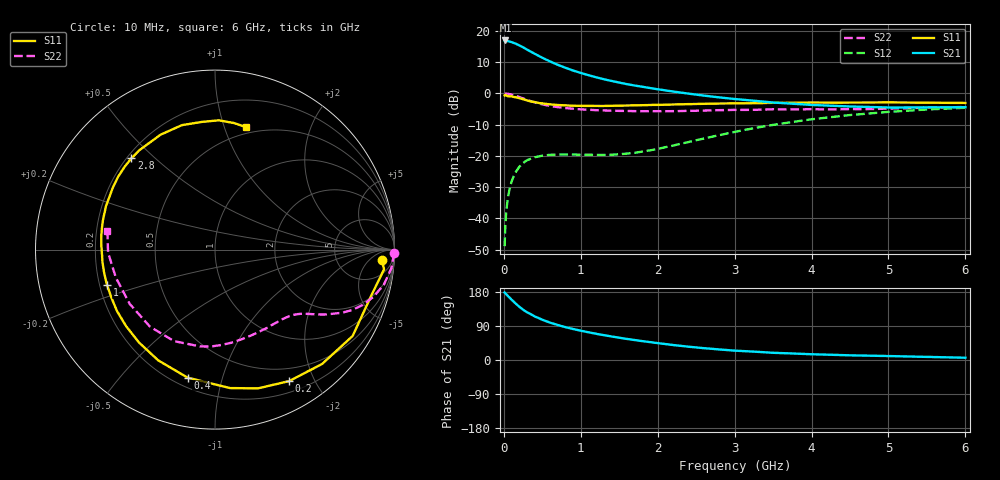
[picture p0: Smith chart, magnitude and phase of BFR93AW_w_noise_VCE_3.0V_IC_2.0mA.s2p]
! Infineon Technologies  Discrete & RF Semiconductors
! BFR93AW
! VCE =  3.0 V,  IC =  2.0 mA
! Common Emitter S-Parameters:  Jan 2017
# GHz  S  MA  R  50
!  f  S11  S21  S12  S22
! GHz  MAG  ANG  MAG  ANG  MAG  ANG  MAG  ANG
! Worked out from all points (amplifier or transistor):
!   77 points, 10 MHz to 6 GHz, reference 50 ohm
!   highest |S21| = 17.0 dB at 20 MHz (marker M1)
!   |S21| within 3 dB of that: start of sweep to 307.5 MHz
!   unconditionally stable (mu >= 1): 1.265 GHz to 2.348 GHz
!   at 130 MHz: K = 0.11, MSG = 21.3 dB, |S12| = -26.4 dB
!   at 2.2 GHz: K = 1.05, MAG = 7.2 dB, |S12| = -16.7 dB
!   at 6 GHz: K = 0.97, MSG = 0.1 dB, |S12| = -4.6 dB
!   lowest NFmin = 1.49 dB at 450 MHz
!   S11 on the Smith chart (normalised r, x): 10 MHz: 17, -14; 200 MHz: 0.33, -1.66; 400 MHz: 0.25, -0.78; 1 GHz: 0.23, -0.15; 2.8 GHz: 0.22, +0.42; 6 GHz: 0.44, +1.18
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0.01  0.9317 -3.4  6.946 178.1  0.0036 90.0  1 -1.2
0.02  0.9482 -6.7  7.047 176.0  0.008 93.8  0.9946 -2.5
0.05  0.9081 -16.2  6.901 169.5  0.0203 80.1  0.9881 -6.0
0.1  0.9053 -32.1  6.649 159.3  0.0387 73.0  0.9612 -11.7
0.15  0.8729 -46.9  6.295 149.6  0.0542 64.8  0.9213 -16.6
0.2  0.8411 -60.6  5.884 140.8  0.0669 58.7  0.8769 -20.7
0.25  0.8092 -72.9  5.477 132.8  0.0771 52.7  0.8329 -23.9
0.3  0.7757 -83.9  5.048 126.2  0.0852 47.6  0.789 -26.5
0.4  0.7294 -102.1  4.327 115.0  0.0952 40.8  0.7206 -30.1
0.5  0.6933 -117.2  3.724 106.2  0.1011 35.8  0.6681 -32.7
0.6  0.6689 -129.2  3.256 98.7  0.1043 32.8  0.6309 -34.6
0.8  0.6446 -147.9  2.579 86.7  0.1053 30.5  0.584 -38.0
1  0.6331 -161.9  2.128 77.3  0.1046 31.0  0.5567 -41.6
1.1  0.6311 -168.0  1.959 73.2  0.1048 32.4  0.5483 -43.6
1.3  0.6305 -178.2  1.689 65.5  0.104 36.5  0.5349 -48.0
1.6  0.6413 169.2  1.409 55.6  0.109 45.4  0.525 -55.7
2.1  0.66 151.8  1.119 42.1  0.1381 59.3  0.5194 -70.4
2.8  0.6894 132.5  0.865 27.8  0.215 65.9  0.5405 -92.5
3.1  0.6959 124.9  0.795 23.7  0.2564 64.3  0.5453 -101.8
4.1  0.7156 103.1  0.648 14.6  0.3981 52.8  0.5579 -133.6
5.1  0.7182 86.9  0.597 10.0  0.5159 37.4  0.5754 -167.0
6  0.7043 76.0  0.603 6.0  0.5899 24.1  0.6085 170.3
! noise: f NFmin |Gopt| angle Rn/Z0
0.45  1.49  0.44  71  0.2
0.9  1.76  0.41  128  0.21
1.9  3.23  0.56  -159  0.25
2.4  4.18  0.62  -139  0.45
